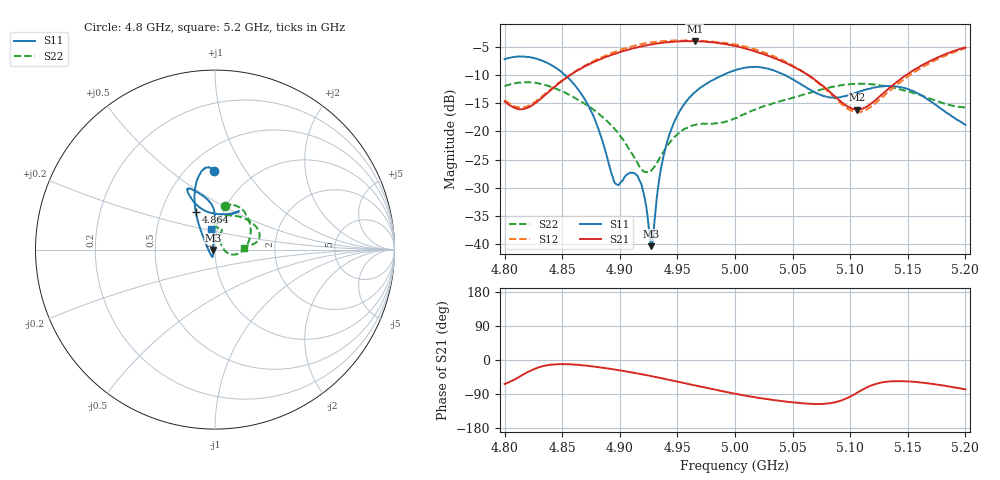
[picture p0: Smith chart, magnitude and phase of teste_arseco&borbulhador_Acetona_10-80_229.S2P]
! Network Analyzer HP8722D
! Hewlett-Packard
! Data name: Linha & Wilkinson
! Saver's name: Rodrigo Anjos
! Comments: Teste da utilização de aquisição
! continua pelo VNA HP8722D
! Time and date: 25/4/2025 17:10
!  Frequency  S11  S21  S12  S22
# HZ  S  MA R 50
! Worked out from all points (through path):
!   401 points, 4.8 GHz to 5.2 GHz, reference 50 ohm
!   highest |S21| = -3.99 dB at 4.965 GHz (marker M1); lowest = -16.1 dB at 5.106 GHz (marker M2)
!   lowest |S11| = -40.4 dB at 4.927 GHz (marker M3), VSWR 1.02, Z = 49.1 - j0.231 ohm
!   |S11| at or under -10 dB: 4.852 GHz to 4.99 GHz (137.3 MHz wide, 2.79 % of centre); 5.043 GHz to end of sweep
!   |S22| runs from -27.3 to -11.3 dB; largest |S21 - S12| = 1.2
!   S11 on the Smith chart (normalised r, x): 4.8 GHz: 0.67, +0.72; 4.864 GHz: 0.75, +0.33; 5.2 GHz: 0.93, +0.21
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4.8e9  0.4357 91.0  0.1842 -63.3  0.1892 70.1  0.2504 77.1
4.82e9  0.4548 97.2  0.1617 -31.8  0.1674 98.9  0.2723 61.2
4.844e9  0.368 107.1  0.2509 -11.6  0.2539 119.2  0.2389 35.4
4.864e9  0.2342 117.1  0.3493 -12.9  0.3527 121.0  0.1893 12.0
4.867e9  0.2114 118.8  0.3634 -13.9  0.3682 120.6  0.1822 8.8
4.88e9  0.1146 129.2  0.4227 -18.4  0.4327 118.2  0.1479 -5.1
4.896e9  0.03462 -170.2  0.4877 -25.3  0.5058 113.1  0.1031 -15.6
4.91e9  0.04295 -110.9  0.5387 -32.6  0.564 107.1  0.06454 -12.6
4.917e9  0.03683 -108.2  0.5596 -36.4  0.5883 103.4  0.04874 0.7
4.921e9  0.02728 -113.7  0.5732 -38.7  0.5985 101.3  0.04397 13.8
4.927e9  0.009598 -165.8  0.5861 -42.5  0.6142 97.5  0.04452 37.7
4.929e9  0.01195 140.4  0.5927 -43.4  0.6179 96.5  0.047 44.5
4.934e9  0.03633 101.8  0.6022 -46.8  0.628 93.2  0.05662 57.6
4.946e9  0.1126 90.9  0.6213 -54.5  0.6366 85.6  0.08574 69.3
4.965e9  0.2212 91.4  0.6314 -67.1  0.636 73.3  0.1141 70.6
5e9  0.3485 109.3  0.5727 -89.1  0.5895 50.6  0.1308 87.9
5.03e9  0.3556 115.3  0.4626 -104.2  0.4785 33.7  0.1725 85.1
5.067e9  0.2282 105.7  0.2985 -115.9  0.2955 23.6  0.2223 56.8
5.106e9  0.221 65.3  0.1558 -86.2  0.1477 56.6  0.2632 24.5
5.134e9  0.2518 58.0  0.2415 -56.5  0.2274 88.8  0.2478 12.2
5.169e9  0.1871 71.1  0.4177 -62.1  0.4026 84.8  0.1953 7.0
5.2e9  0.1144 101.2  0.5536 -77.5  0.5442 70.1  0.1625 3.7
